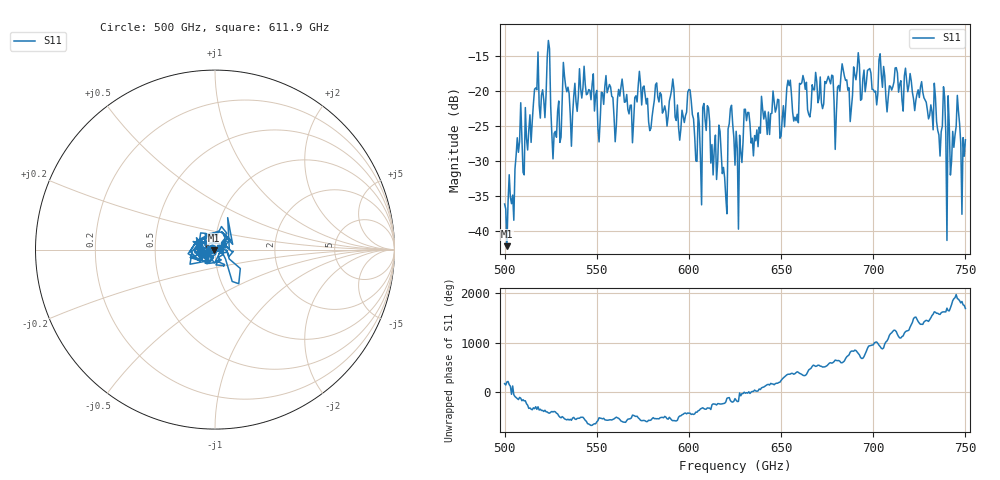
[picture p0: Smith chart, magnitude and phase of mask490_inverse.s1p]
!Created with skrf (http://scikit-rf.org).
# GHz S MA R 50.0
!freq magS11 angS11
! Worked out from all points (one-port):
!   401 points, 500 GHz to 750 GHz, reference 50 ohm
!   lowest |S11| = -42.2 dB at 501.2 GHz (marker M1), VSWR 1.02, Z = 49.3 - j0.392 ohm
!   |S11| at or under -10 dB: start of sweep to end of sweep
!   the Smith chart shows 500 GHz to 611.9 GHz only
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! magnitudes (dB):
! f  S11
! 500 GHz  -36.1
! 501.2 GHz  -42.2
! 516.9 GHz  -19.5
! 520.6 GHz  -19.8
! 523.8 GHz  -12.7
! 526.9 GHz  -26.0
! 531.2 GHz  -21.3
! 562.5 GHz  -20.7
! 579.4 GHz  -25.3
! 590.6 GHz  -19.8
! 593.8 GHz  -22.0
! 600.6 GHz  -19.8
! 605.6 GHz  -24.7
! 609.4 GHz  -25.6
! 619.4 GHz  -32.3
! 622.5 GHz  -22.5
! 625 GHz  -30.6
! 656.2 GHz  -22.9
! 676.9 GHz  -18.9
! 680 GHz  -23.1
! 683.8 GHz  -17.0
! 687.5 GHz  -24.3
! 691.2 GHz  -17.0
! 718.8 GHz  -20.0
! 738.1 GHz  -19.3
! 741.2 GHz  -24.9
! 745.6 GHz  -20.6
! 750 GHz  -26.9
